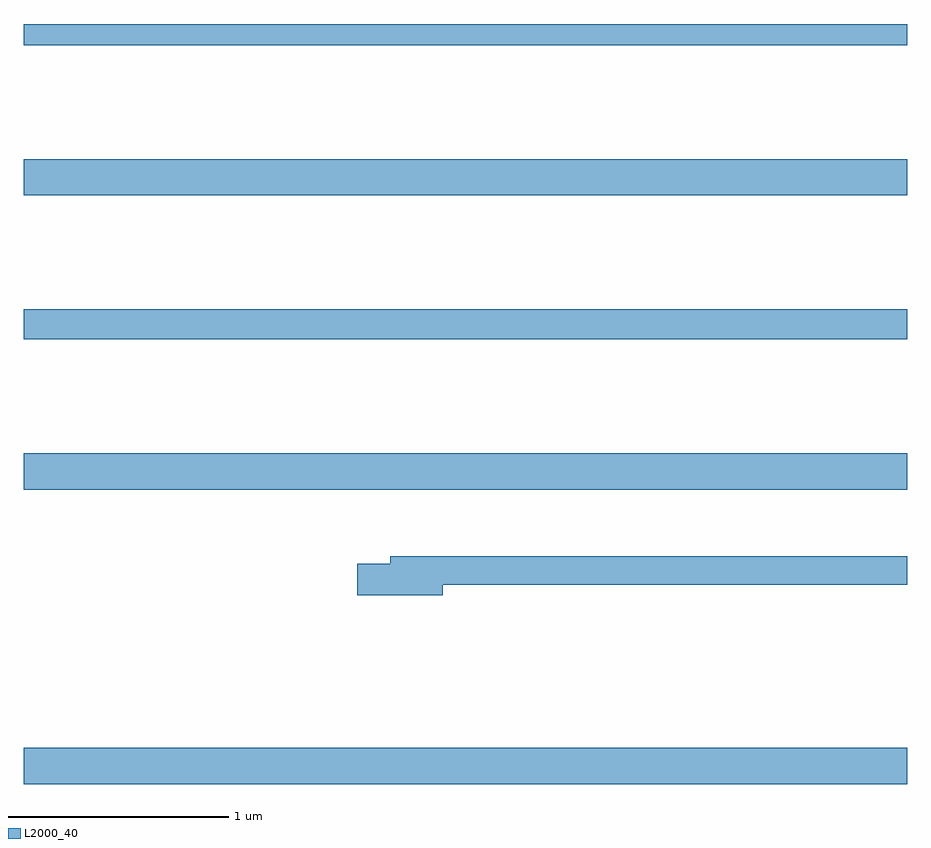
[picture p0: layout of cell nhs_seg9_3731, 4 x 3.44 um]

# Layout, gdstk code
import gdstk
lib = gdstk.Library(unit=1e-6, precision=1e-09)
def R(c, l, rs):  # rectangles x0, y0, x1, y1
    for r in rs: c.add(gdstk.rectangle(r[:2], r[2:], *l))
def A(c, l, x, y, w, h, nx, ny, dx, dy):  # array of equal rectangles
    R(c, l, [(x+i*dx, y+j*dy, x+i*dx+w, y+j*dy+h) for i in range(nx) for j in range(ny)])
def P(c, l, *ps):  # polygons
    for p in ps: c.add(gdstk.Polygon(p, *l))
L2000_40 = (2000, 40)

nhs_seg9_3731 = lib.new_cell('nhs_seg9_3731')
A(nhs_seg9_3731, L2000_40, 323, 1223.06, 4, 0.164, 1, 3, 0, 1.332)
R(nhs_seg9_3731, L2000_40, [(323,1225.072,327,1225.208), (323,1226.404,327,1226.5)])
P(nhs_seg9_3731, L2000_40, [(324.898,1223.962),(327,1223.962),(327,1224.091),(324.659,1224.091),(324.659,1224.057),(324.51,1224.057),(324.51,1223.915),(324.898,1223.915)])

lib.write_gds('nhs_seg9_3731.gds')
